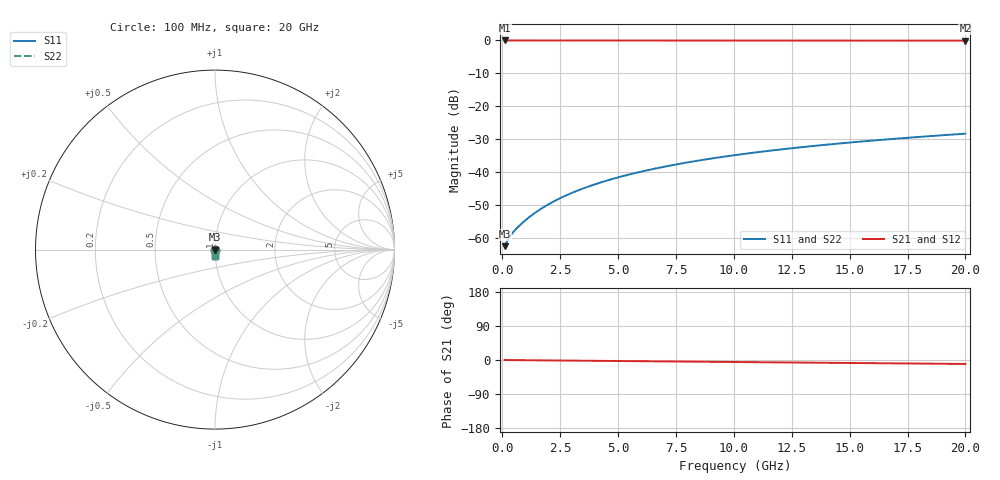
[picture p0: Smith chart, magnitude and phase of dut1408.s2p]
! Touchstone file exported from HFSS 2026.1.0
!  File:  C:/ffzhzh/LocalFiles/Ansys_Project_Files/temp_train_TMRDL_1408_1783166487_51560.aedt
!  Generated:  08:02:34 PM Jul  4, 2026
!  Design:  TMRDL
!  Project:  temp_train_TMRDL_1408_1783166487_51560
! Variables:
!  h_bsmrdl = 2um
!  h_ox = 20um
!  h_rdl = 5um
!  h_sub = 80um
!  h_tmrdl = 4.16um
!  h_tsv = 80um
!  h_via = 3um
!  l_bsmrdl = 300um
!  l_sub = 571.42um
!  l_tmrdl = 171.42um
!  m_sub = 200um
!  pitch = 32.53um
!  r_tsv = 6um
!  s_tmrdl = 10um
!  w_bsmrdl = 18um
!  w_sub = 500um
!  w_tmrdl = 29.78um
!  x_tsv_center1 = 186.31um
!  x_tsv_center2 = 504.31um
!  x_tsv_center3 = 705.51um
!  x_tsv_center4 = 1023.51um
!  x_tsv_center5 = 1224.71um
!  x_tsv_center6 = 1542.71um
# GHz S MA R 50.000000
! Terminal data exported
! Port[1] = TM_RDL1_1_T1
! Port[2] = TM_RDL1_1_T2
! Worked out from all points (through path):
!   200 points, 100 MHz to 20 GHz, reference 50 ohm
!   highest |S21| = -0.01 dB at 100 MHz (marker M1); lowest = -0.1 dB at 20 GHz (marker M2)
!   group delay of S21, straight-line fit = 1.44 ps
!   lowest |S11| = -62.5 dB at 100 MHz (marker M3), VSWR 1.00, Z = 50.1 + j0.00547 ohm
!   |S11| at or under -10 dB: start of sweep to end of sweep
!   |S22| runs from -62.5 to -28.3 dB; largest |S21 - S12| = 5.4e-15
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0.1  0.0007523 4.2  0.9992 -0.1  0.9992 -0.1  0.0007523 4.2
! Gamma 0 0 0 0
! Port Impedance 50 0 50 0
0.2  0.000884 2.0  0.9991 -0.1  0.9991 -0.1  0.000884 2.0
0.3  0.001021 -4.1  0.999 -0.2  0.999 -0.2  0.001021 -4.1
0.4  0.001147 -11.1  0.9989 -0.2  0.9989 -0.2  0.001147 -11.1
0.5  0.001265 -17.8  0.9988 -0.3  0.9988 -0.3  0.001265 -17.8
0.7  0.001497 -29.2  0.9987 -0.4  0.9987 -0.4  0.001497 -29.2
0.9  0.001738 -37.9  0.9986 -0.5  0.9986 -0.5  0.001738 -37.9
1.3  0.002257 -49.5  0.9985 -0.7  0.9985 -0.7  0.002257 -49.5
1.8  0.002964 -58.0  0.9984 -1.0  0.9984 -1.0  0.002964 -58.0
2.3  0.003718 -63.1  0.9982 -1.3  0.9982 -1.3  0.003718 -63.1
2.9  0.004671 -67.0  0.998 -1.6  0.998 -1.6  0.004671 -67.0
3.5  0.00567 -69.6  0.9978 -1.9  0.9978 -1.9  0.00567 -69.6
4.2  0.006885 -71.8  0.9976 -2.3  0.9976 -2.3  0.006885 -71.8
5  0.008327 -73.7  0.9973 -2.7  0.9973 -2.7  0.008327 -73.7
5.9  0.01 -75.5  0.9969 -3.2  0.9969 -3.2  0.01 -75.5
6.8  0.01172 -77.0  0.9966 -3.6  0.9966 -3.6  0.01173 -77.0
8.3  0.01466 -79.3  0.9961 -4.4  0.9961 -4.4  0.01466 -79.3
10.1  0.01825 -81.6  0.9955 -5.4  0.9955 -5.4  0.01825 -81.6
11.7  0.02147 -83.4  0.995 -6.2  0.995 -6.2  0.02147 -83.4
13.4  0.02492 -85.1  0.9945 -7.1  0.9945 -7.1  0.02492 -85.1
16.7  0.03164 -88.1  0.9936 -8.8  0.9936 -8.8  0.03164 -88.1
20  0.03839 -90.7  0.9928 -10.4  0.9928 -10.4  0.03839 -90.7
